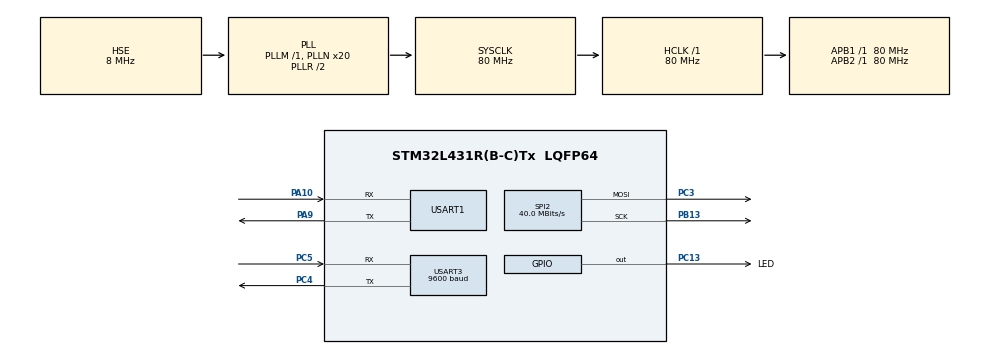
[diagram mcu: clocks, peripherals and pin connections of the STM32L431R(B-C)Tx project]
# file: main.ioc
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Dma.Request0=USART3_RX
Dma.USART3_RX.0.Direction=DMA_PERIPH_TO_MEMORY
Dma.USART3_RX.0.Instance=DMA1_Channel3
Dma.USART3_RX.0.MemDataAlignment=DMA_MDATAALIGN_BYTE
Dma.USART3_RX.0.MemInc=DMA_MINC_ENABLE
Dma.USART3_RX.0.Mode=DMA_NORMAL
Dma.USART3_RX.0.PeriphDataAlignment=DMA_PDATAALIGN_BYTE
Dma.USART3_RX.0.PeriphInc=DMA_PINC_DISABLE
Dma.USART3_RX.0.Priority=DMA_PRIORITY_LOW
Mcu.Family=STM32L4
Mcu.Name=STM32L431R(B-C)Tx
Mcu.Package=LQFP64
NVIC.DMA1_Channel3_IRQn=true\:0\:0\:false\:false\:true\:false\:true
NVIC.PriorityGroup=NVIC_PRIORITYGROUP_4
NVIC.USART3_IRQn=true\:0\:0\:false\:false\:true\:true\:true
PA10.Mode=Asynchronous
PA10.Signal=USART1_RX
PA13\ (JTMS-SWDIO).Mode=Serial_Wire
PA13\ (JTMS-SWDIO).Signal=SYS_JTMS-SWDIO
PA14\ (JTCK-SWCLK).Mode=Serial_Wire
PA14\ (JTCK-SWCLK).Signal=SYS_JTCK-SWCLK
PA9.Mode=Asynchronous
PA9.Signal=USART1_TX
PB13.Mode=TX_Only_Simplex_Unidirect_Master
PB13.Signal=SPI2_SCK
PC13.GPIO_Label=LED
PC13.Signal=GPIO_Output
PC3.Mode=TX_Only_Simplex_Unidirect_Master
PC3.Signal=SPI2_MOSI
PC4.Mode=Asynchronous
PC4.Signal=USART3_TX
PC5.Mode=Asynchronous
PC5.Signal=USART3_RX
PH0-OSC_IN\ (PH0).Mode=HSE-External-Oscillator
PH0-OSC_IN\ (PH0).Signal=RCC_OSC_IN
PH1-OSC_OUT\ (PH1).Mode=HSE-External-Oscillator
PH1-OSC_OUT\ (PH1).Signal=RCC_OSC_OUT
ProjectManager.HeapSize=0x200
ProjectManager.StackSize=0x400
ProjectManager.TargetToolchain=MDK-ARM V5
RCC.ADCFreq_Value=32000000
RCC.AHBFreq_Value=80000000
RCC.APB1Freq_Value=80000000
RCC.APB1TimFreq_Value=80000000
RCC.APB2Freq_Value=80000000
RCC.APB2TimFreq_Value=80000000
RCC.CortexFreq_Value=80000000
RCC.HCLKFreq_Value=80000000
RCC.HSE_VALUE=8000000
RCC.HSI48_VALUE=48000000
RCC.HSI_VALUE=16000000
RCC.LSE_VALUE=32768
RCC.MSI_VALUE=4000000
RCC.PLLN=20
RCC.PLLSourceVirtual=RCC_PLLSOURCE_HSE
RCC.SYSCLKFreq_VALUE=80000000
RCC.SYSCLKSource=RCC_SYSCLKSOURCE_PLLCLK
RCC.VCOOutputFreq_Value=160000000
SPI2.CLKPhase=SPI_PHASE_2EDGE
SPI2.CLKPolarity=SPI_POLARITY_HIGH
SPI2.CalculateBaudRate=40.0 MBits/s
SPI2.DataSize=SPI_DATASIZE_8BIT
SPI2.Direction=SPI_DIRECTION_2LINES
SPI2.Mode=SPI_MODE_MASTER
SPI2.VirtualType=VM_MASTER
USART1.VirtualMode-Asynchronous=VM_ASYNC
USART3.BaudRate=9600
USART3.VirtualMode-Asynchronous=VM_ASYNC
board=custom

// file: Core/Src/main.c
/* USER CODE BEGIN Header */
/**
  ******************************************************************************
  * @file           : main.c
  * @brief          : Main program body
  ******************************************************************************
  * @attention
  *
  * <h2><center>&copy; Copyright (c) 2020 STMicroelectronics.
  * All rights reserved.</center></h2>
  *
  * This software component is licensed by ST under BSD 3-Clause license,
  * the "License"; You may not use this file except in compliance with the
  * License. You may obtain a copy of the License at:
  *                        opensource.org/licenses/BSD-3-Clause
  *
  ******************************************************************************
  */
/* USER CODE END Header */
#include "main.h"
#include "dma.h"
#include "spi.h"
#include "usart.h"
#include "gpio.h"

/* USER CODE BEGIN Includes */
#include "stm32l4xx_it.h"
#include "lcd_spi2_drv.h"
/* USER CODE END Includes */

void SystemClock_Config(void);

int main(void)
{
    /* USER CODE BEGIN 1 */
    Dart_Sensor sensor ;
    char display_buf[20] = {0};
    /* USER CODE END 1 */

    /* MCU Configuration--------------------------------------------------------*/

    /* Reset of all peripherals, Initializes the Flash interface and the Systick. */
    HAL_Init();

    /* Configure the system clock */
    SystemClock_Config();

    /* Initialize all configured peripherals */
    MX_GPIO_Init();
    MX_DMA_Init();
    MX_USART1_UART_Init();
    MX_USART3_UART_Init();
    MX_SPI2_Init();
    /* USER CODE BEGIN 2 */
    printf("Dart_Sensor Test\n");
    LCD_Init();
    LCD_Clear(BLACK);
    LCD_DisplayOnoff(1);
    //开启DMA接收
    memset(sensor_handler.SensorU3Buffer, 0, SENSOR_U3_BUFFER_SIZE);
    HAL_UART_Receive_DMA(&huart3, (uint8_t*)sensor_handler.SensorU3Buffer, SENSOR_U3_BUFFER_SIZE);
    /* USER CODE END 2 */

    /* Infinite loop */
    while (1)
    {

        /* USER CODE BEGIN 3 */
        if(1 == sensor_handler.BufferReady)
        {
            sensor_handler.BufferReady = 0 ;

            /*判断包头数据是否正确*/
            if(sensor_handler.SensorU3Buffer[0] == 0xFF && sensor_handler.SensorU3Buffer[1] == 0x17)
            {
                sensor = Get_Dart_Sensor_Density(sensor_handler.SensorU3Buffer);
                sprintf(display_buf, "%.3fmg/L", sensor.gas_density);
                LCD_ShowCharStr(70, 100, 170, display_buf, BLACK, WHITE, 24);
                memset(sensor_handler.SensorU3Buffer, 0, SENSOR_U3_BUFFER_SIZE);
                HAL_UART_Receive_DMA(&huart3, (uint8_t*)sensor_handler.SensorU3Buffer, SENSOR_U3_BUFFER_SIZE);
            }
        }
    }

    /* USER CODE END 3 */
}

void SystemClock_Config(void)
{
    RCC_OscInitTypeDef RCC_OscInitStruct = {0};
    RCC_ClkInitTypeDef RCC_ClkInitStruct = {0};
    RCC_PeriphCLKInitTypeDef PeriphClkInit = {0};

    /** Initializes the RCC Oscillators according to the specified parameters
    * in the RCC_OscInitTypeDef structure.
    */
    RCC_OscInitStruct.OscillatorType = RCC_OSCILLATORTYPE_HSE;
    RCC_OscInitStruct.HSEState = RCC_HSE_ON;
    RCC_OscInitStruct.PLL.PLLState = RCC_PLL_ON;
    RCC_OscInitStruct.PLL.PLLSource = RCC_PLLSOURCE_HSE;
    RCC_OscInitStruct.PLL.PLLM = 1;
    RCC_OscInitStruct.PLL.PLLN = 20;
    RCC_OscInitStruct.PLL.PLLP = RCC_PLLP_DIV7;
    RCC_OscInitStruct.PLL.PLLQ = RCC_PLLQ_DIV2;
    RCC_OscInitStruct.PLL.PLLR = RCC_PLLR_DIV2;

    if (HAL_RCC_OscConfig(&RCC_OscInitStruct) != HAL_OK)
    {
        Error_Handler();
    }

    /** Initializes the CPU, AHB and APB buses clocks
    */
    RCC_ClkInitStruct.ClockType = RCC_CLOCKTYPE_HCLK | RCC_CLOCKTYPE_SYSCLK
                                  | RCC_CLOCKTYPE_PCLK1 | RCC_CLOCKTYPE_PCLK2;
    RCC_ClkInitStruct.SYSCLKSource = RCC_SYSCLKSOURCE_PLLCLK;
    RCC_ClkInitStruct.AHBCLKDivider = RCC_SYSCLK_DIV1;
    RCC_ClkInitStruct.APB1CLKDivider = RCC_HCLK_DIV1;
    RCC_ClkInitStruct.APB2CLKDivider = RCC_HCLK_DIV1;

    if (HAL_RCC_ClockConfig(&RCC_ClkInitStruct, FLASH_LATENCY_4) != HAL_OK)
    {
        Error_Handler();
    }

    PeriphClkInit.PeriphClockSelection = RCC_PERIPHCLK_USART1 | RCC_PERIPHCLK_USART3;
    PeriphClkInit.Usart1ClockSelection = RCC_USART1CLKSOURCE_PCLK2;
    PeriphClkInit.Usart3ClockSelection = RCC_USART3CLKSOURCE_PCLK1;

    if (HAL_RCCEx_PeriphCLKConfig(&PeriphClkInit) != HAL_OK)
    {
        Error_Handler();
    }

    /** Configure the main internal regulator output voltage
    */
    if (HAL_PWREx_ControlVoltageScaling(PWR_REGULATOR_VOLTAGE_SCALE1) != HAL_OK)
    {
        Error_Handler();
    }
}

void Error_Handler(void)
{
}

/************************ (C) COPYRIGHT STMicroelectronics *****END OF FILE****/
